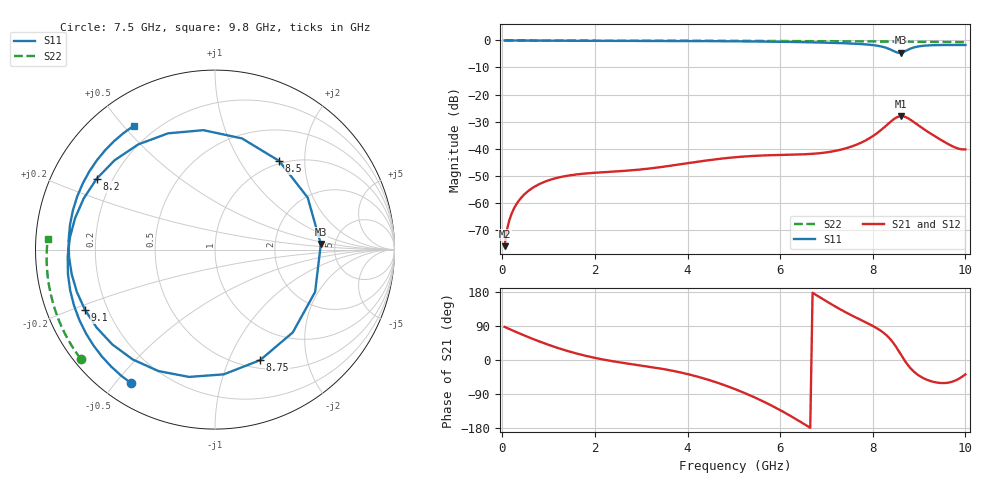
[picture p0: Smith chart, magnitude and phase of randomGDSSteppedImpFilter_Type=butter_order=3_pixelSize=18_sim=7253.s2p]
! freq	dB(S11)	phase(S11)	dB(S12)	phase(S12)
!  dB(S21)	phase(S21)	dB(S22)	phase(S22)
!S-par simulation data
#  GHz  S  DB  R 50
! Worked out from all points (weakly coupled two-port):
!   200 points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, 50 MHz to 10 GHz, reference 50 ohm
!   highest |S21| = -28.02 dB at 8.6 GHz (marker M1); lowest = -76.1 dB at 50 MHz (marker M2)
!   lowest |S11| = -4.6 dB at 8.6 GHz (marker M3), VSWR 3.88, Z = 192 + j18.1 ohm
!   |S11| at or under -10 dB: nowhere
!   |S22| runs from -0.6 to 0.0 dB; largest |S21 - S12| = 0
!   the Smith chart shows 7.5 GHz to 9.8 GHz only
!   S11 on the Smith chart (normalised r, x): 7.5 GHz: 0.08, -0.55; 8.2 GHz: 0.14, +0.27; 8.5 GHz: 0.96, +1.50; 8.75 GHz: 0.59, -1.31; 9.1 GHz: 0.12, -0.22; 9.8 GHz: 0.12, +0.53
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0.05  -0.00 -4.4  -76.12 87.3  -76.12 87.3  -0.00 -1.1
0.2  -0.02 -17.4  -64.15 79.2  -64.15 79.2  -0.00 -4.2
0.5  -0.06 -42.7  -56.58 63.5  -56.58 63.5  -0.01 -10.4
1.05  -0.10 -85.0  -51.47 37.8  -51.47 37.8  -0.03 -21.8
1.75  -0.13 -129.9  -49.30 12.6  -49.30 12.6  -0.05 -36.1
2.55  -0.15 -172.6  -48.35 -6.5  -48.35 -6.5  -0.07 -51.9
3.4  -0.18 146.2  -46.91 -22.2  -46.91 -22.2  -0.09 -68.3
4.3  -0.24 101.2  -44.66 -46.8  -44.66 -46.8  -0.12 -84.9
5.05  -0.31 59.1  -43.18 -78.0  -43.18 -78.0  -0.15 -98.4
5.95  -0.47 0.7  -42.38 -129.0  -42.38 -129.0  -0.20 -114.1
6.7  -0.70 -54.8  -41.94 177.4  -41.94 177.4  -0.25 -127.1
7.5  -1.12 -122.0  -39.48 120.5  -39.48 120.5  -0.31 -140.9
7.9  -1.53 -164.3  -36.47 96.2  -36.47 96.2  -0.35 -147.9
8.2  -2.29 149.1  -32.84 74.8  -32.84 74.8  -0.39 -153.2
8.35  -3.12 112.0  -30.60 58.8  -30.60 58.8  -0.40 -155.9
8.5  -4.30 54.1  -28.62 35.4  -28.62 35.4  -0.42 -158.6
8.6  -4.58 3.0  -28.02 15.9  -28.02 15.9  -0.44 -160.4
8.75  -3.54 -67.8  -28.67 -11.9  -28.67 -11.9  -0.45 -163.2
9.1  -1.96 -155.1  -32.78 -48.3  -32.78 -48.3  -0.49 -169.7
9.4  -1.71 164.5  -36.06 -59.8  -36.06 -59.8  -0.53 -175.5
9.8  -1.67 123.3  -39.74 -53.2  -39.74 -53.2  -0.59 176.4
10  -1.69 104.9  -40.32 -38.1  -40.32 -38.1  -0.63 172.3
